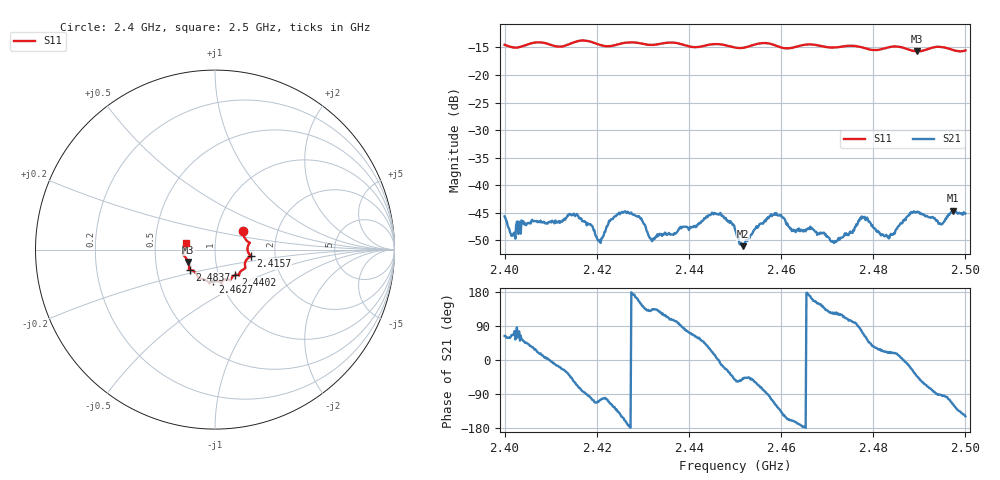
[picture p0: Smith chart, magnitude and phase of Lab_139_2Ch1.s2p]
# Hz S RI R 50
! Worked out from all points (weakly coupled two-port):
!   601 points, 2.4 GHz to 2.5 GHz, reference 50 ohm
!   highest |S21| = -44.63 dB at 2.4973 GHz (marker M1); lowest = -51.1 dB at 2.4517 GHz (marker M2)
!   lowest |S11| = -15.7 dB at 2.4895 GHz (marker M3), VSWR 1.39, Z = 36.8 - j5.16 ohm
!   |S11| at or under -10 dB: start of sweep to end of sweep
!   S12 and S22 are empty: the file has one direction only
!   S11 on the Smith chart (normalised r, x): 2.4 GHz: 1.33, +0.29; 2.4157 GHz: 1.49, -0.11; 2.4402 GHz: 1.20, -0.35; 2.4627 GHz: 0.92, -0.34; 2.4837 GHz: 0.74, -0.17; 2.5 GHz: 0.72, +0.05
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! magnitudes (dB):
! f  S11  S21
! 2.4 GHz  -14.5  -45.7
! 2.4018 GHz  -15.0  -49.1
! 2.4157 GHz  -13.9  -45.2
! 2.4167 GHz  -13.7  -46.0
! 2.4205 GHz  -14.5  -50.0
! 2.4258 GHz  -14.2  -44.9
! 2.4333 GHz  -14.4  -49.2
! 2.4402 GHz  -14.8  -47.7
! 2.4455 GHz  -14.4  -45.0
! 2.45 GHz  -15.0  -48.0
! 2.4517 GHz  -15.1  -51.1
! 2.4582 GHz  -14.5  -45.4
! 2.4627 GHz  -15.0  -48.1
! 2.4667 GHz  -14.5  -47.7
! 2.4717 GHz  -15.0  -50.1
! 2.4777 GHz  -15.0  -46.0
! 2.4833 GHz  -15.0  -49.6
! 2.4837 GHz  -14.9  -49.0
! 2.4895 GHz  -15.7  -44.8
! 2.4947 GHz  -14.9  -47.1
! 2.4973 GHz  -15.5  -44.6
! 2.5 GHz  -15.5  -45.1
